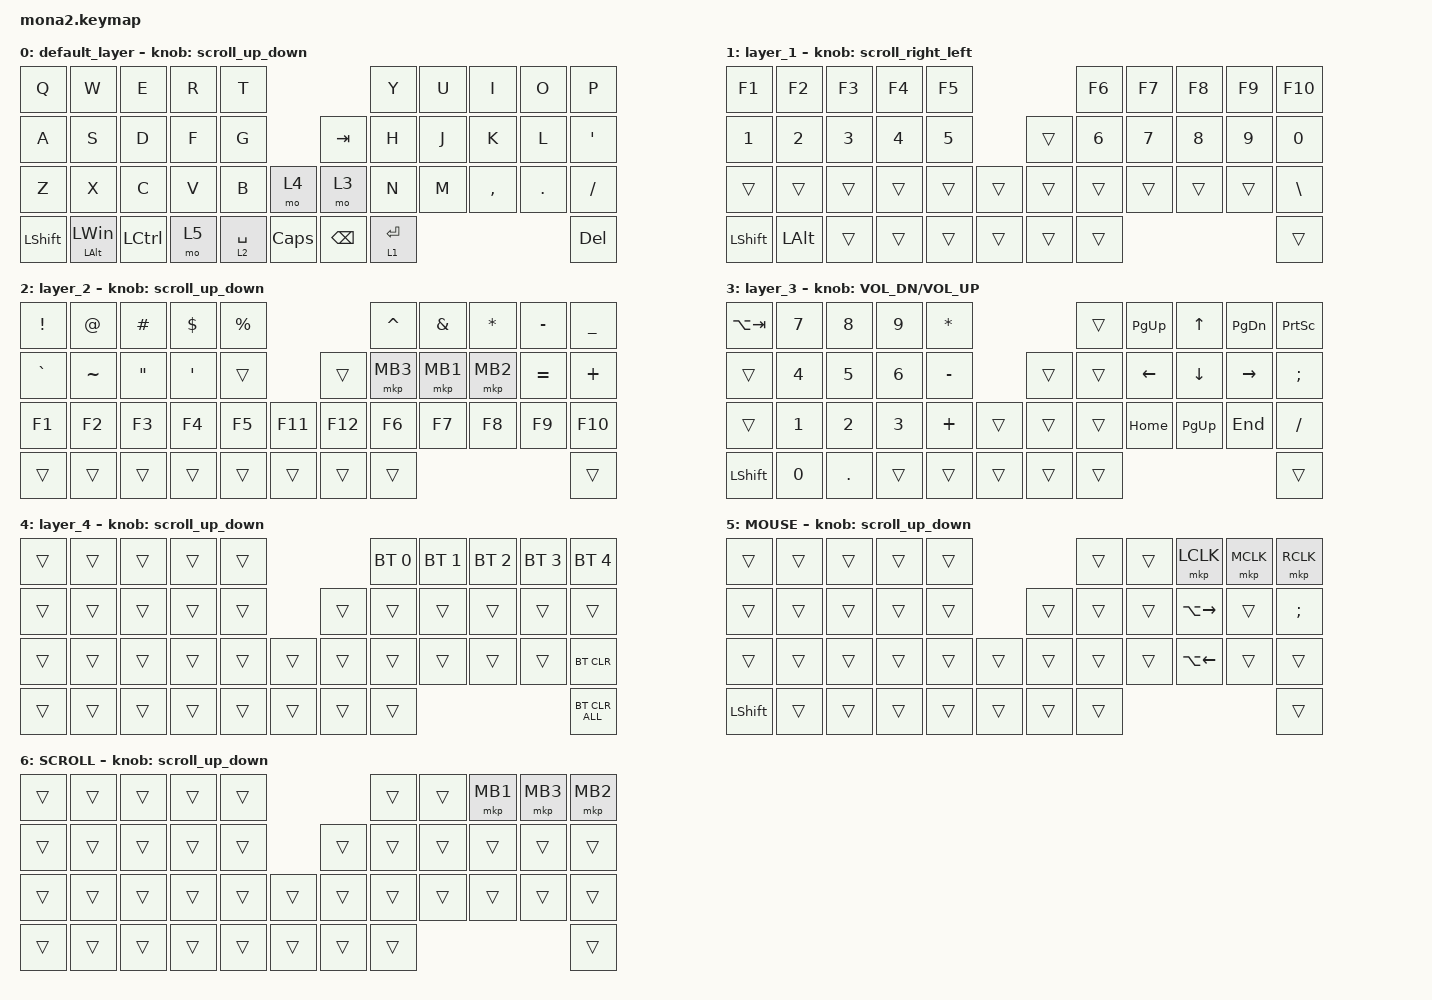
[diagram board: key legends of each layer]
#include <input/processors.dtsi>
#include <dt-bindings/zmk/input_transform.h>
#include <zephyr/dt-bindings/input/input-event-codes.h>
#include <behaviors.dtsi>
#include <dt-bindings/zmk/bt.h>
#include <dt-bindings/zmk/keys.h>
#include <dt-bindings/zmk/pointing.h>

#define ZMK_POINTING_DEFAULT_SCRL_VAL 100
#define MOUSE 5
#define SCROLL 6

&mt {
    flavor = "balanced";
    quick-tap-ms = <0>;
};

&lt {
    quick-tap-ms = <300>;
    flavor = "balanced";
};

/ {
    combos {
        compatible = "zmk,combos";

        layer4_ESC {
            bindings = <&lt 4 ESC>;
            key-positions = <39 38>;
        };

        tab {
            bindings = <&kp TAB>;
            key-positions = <11 12>;
        };
    };

    macros {
        to_layer_0: to_layer_0 {
            compatible = "zmk,behavior-macro-one-param";
            #binding-cells = <1>;
            bindings = <&to 0 &macro_param_1to1 &kp MACRO_PLACEHOLDER>;
            label = "TO_LAYER_0";
        };
    };

    behaviors {
        lt_to_layer_0: lt_to_layer_0 {
            compatible = "zmk,behavior-hold-tap";
            label = "LAYER_TAP_TO_0";
            bindings = <&mo>, <&to_layer_0>;

            #binding-cells = <2>;
            tapping-term-ms = <200>;
        };

        scroll_up_down: mouse_wheel_up_down {
            compatible = "zmk,behavior-sensor-rotate";
            #sensor-binding-cells = <0>;
            bindings = <&msc SCRL_DOWN>, <&msc SCRL_UP>;

            tap-ms = <20>;
        };

        scroll_right_left: mouse_wheel_right_left {
            compatible = "zmk,behavior-sensor-rotate";
            #sensor-binding-cells = <0>;
            bindings = <&msc SCRL_LEFT>, <&msc SCRL_RIGHT>;

            tap-ms = <20>;
        };
    };

    keymap {
        compatible = "zmk,keymap";

        default_layer {
            bindings = <
&kp Q           &kp W                  &kp E             &kp R  &kp T                                   &kp Y        &kp U  &kp I      &kp O    &kp P
&kp A           &kp S                  &kp D             &kp F  &kp G                    &kp TAB        &kp H        &kp J  &kp K      &kp L    &kp SQT
&kp Z           &kp X                  &kp C             &kp V  &kp B        &mo 4       &mo 3          &kp N        &kp M  &kp COMMA  &kp DOT  &kp SLASH
&kp LEFT_SHIFT  &mt LEFT_ALT LEFT_WIN  &kp LEFT_CONTROL  &mo 5  &lt 2 SPACE  &kp CLCK    &kp BACKSPACE  &lt 1 ENTER                             &kp DEL
            >;

            sensor-bindings = <&scroll_up_down>;
        };

        layer_1 {
            bindings = <
&kp F1          &kp F2        &kp F3        &kp F4        &kp F5                          &kp F6        &kp F7        &kp F8        &kp F9        &kp F10
&kp NUMBER_1    &kp NUMBER_2  &kp NUMBER_3  &kp NUMBER_4  &kp NUMBER_5            &trans  &kp NUMBER_6  &kp NUMBER_7  &kp NUMBER_8  &kp NUMBER_9  &kp NUMBER_0
&trans          &trans        &trans        &trans        &trans        &trans    &trans  &trans        &trans        &trans        &trans        &kp BACKSLASH
&kp LEFT_SHIFT  &kp LEFT_ALT  &trans        &trans        &trans        &trans    &trans  &trans                                                  &trans
            >;

            sensor-bindings = <&scroll_right_left>;
        };

        layer_2 {
            bindings = <
&kp EXCLAMATION  &kp AT_SIGN  &kp POUND          &kp DOLLAR  &kp PERCENT                      &kp CARET  &kp AMPERSAND  &kp ASTERISK  &kp MINUS  &kp UNDERSCORE
&kp GRAVE        &kp TILDE    &kp DOUBLE_QUOTES  &kp SQT     &trans                  &trans   &mkp MB3   &mkp MB1       &mkp MB2      &kp EQUAL  &kp PLUS
&kp F1           &kp F2       &kp F3             &kp F4      &kp F5       &kp F11    &kp F12  &kp F6     &kp F7         &kp F8        &kp F9     &kp F10
&trans           &trans       &trans             &trans      &trans       &trans     &trans   &trans                                             &trans
            >;

            sensor-bindings = <&scroll_up_down>;
        };

        layer_3 {
            bindings = <
&kp LA(TAB)     &kp NUMBER_7  &kp NUMBER_8  &kp NUMBER_9  &kp ASTERISK                    &trans  &kp PAGE_UP     &kp UP_ARROW    &kp PAGE_DOWN    &kp PRINTSCREEN
&trans          &kp NUMBER_4  &kp NUMBER_5  &kp NUMBER_6  &kp MINUS               &trans  &trans  &kp LEFT_ARROW  &kp DOWN_ARROW  &kp RIGHT_ARROW  &kp SEMICOLON
&trans          &kp NUMBER_1  &kp NUMBER_2  &kp NUMBER_3  &kp PLUS      &trans    &trans  &trans  &kp HOME        &kp PAGE_UP     &kp END          &kp SLASH
&kp LEFT_SHIFT  &kp NUMBER_0  &kp DOT       &trans        &trans        &trans    &trans  &trans                                                   &trans
            >;

            sensor-bindings = <&inc_dec_kp C_VOL_DN C_VOL_UP>;
        };

        layer_4 {
            bindings = <
&trans  &trans  &trans  &trans  &trans                    &bt BT_SEL 0  &bt BT_SEL 1  &bt BT_SEL 2  &bt BT_SEL 3  &bt BT_SEL 4
&trans  &trans  &trans  &trans  &trans            &trans  &trans        &trans        &trans        &trans        &trans
&trans  &trans  &trans  &trans  &trans  &trans    &trans  &trans        &trans        &trans        &trans        &bt BT_CLR
&trans  &trans  &trans  &trans  &trans  &trans    &trans  &trans                                                  &bt BT_CLR_ALL
            >;

            sensor-bindings = <&scroll_up_down>;
        };

        MOUSE {
            bindings = <
&trans          &trans  &trans  &trans  &trans                    &trans  &trans  &mkp LCLK            &mkp MCLK  &mkp RCLK
&trans          &trans  &trans  &trans  &trans            &trans  &trans  &trans  &kp LA(RIGHT_ARROW)  &trans     &kp SEMICOLON
&trans          &trans  &trans  &trans  &trans  &trans    &trans  &trans  &trans  &kp LA(LEFT_ARROW)   &trans     &trans
&kp LEFT_SHIFT  &trans  &trans  &trans  &trans  &trans    &trans  &trans                                          &trans
            >;

            sensor-bindings = <&scroll_up_down>;
        };

        SCROLL {
            bindings = <
&trans  &trans  &trans  &trans  &trans                    &trans  &trans  &mkp MB1  &mkp MB3  &mkp MB2
&trans  &trans  &trans  &trans  &trans            &trans  &trans  &trans  &trans    &trans    &trans
&trans  &trans  &trans  &trans  &trans  &trans    &trans  &trans  &trans  &trans    &trans    &trans
&trans  &trans  &trans  &trans  &trans  &trans    &trans  &trans                              &trans
            >;

            sensor-bindings = <&scroll_up_down>;
        };
    };
};
